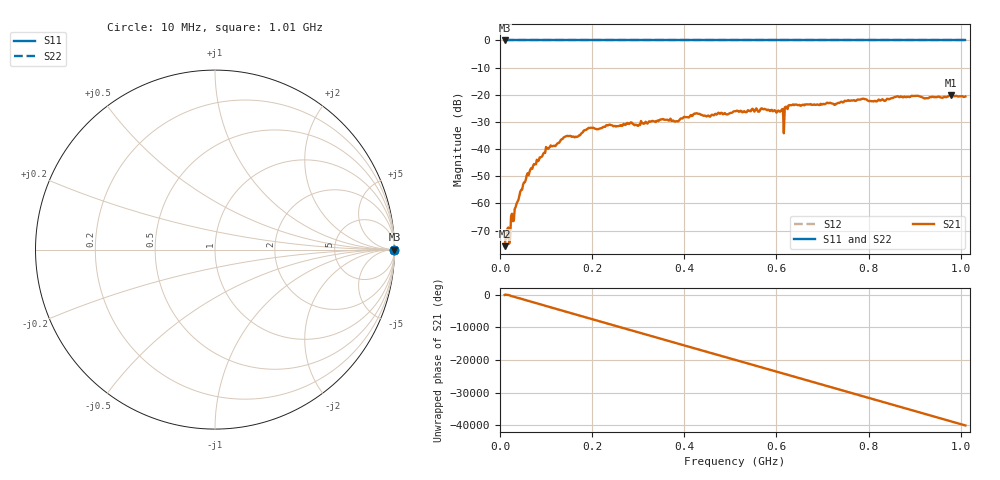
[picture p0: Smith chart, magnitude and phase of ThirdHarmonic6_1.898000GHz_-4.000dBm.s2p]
! 8/16/2025 10:54:30 PM
! C:\ANRITSUVNA\TEMP\TEMP.S2P
! CHANNEL.1
! TR.MEASUREMENT
! RAW.DATA
! RF.CORRECTION.OFF
! AVERAGING.OFF
! IF.BANDWIDTH: 5KHZ
! SWEEPTYPE:  FREQ.SWEEP(Linear)
! Reference Plane Port Info
! PORT:  PORT1  PORT2
! DISTANCE:  0  m  0  m
! TIME:  0  s  0  s
! PHASE.OFFSET:  0  deg.  0  deg.
! LOSS:  0  dB  0  dB
! REF.LOSS:  0  dB  0  dB
! REF.FREQ:  0  Hz  0  Hz
! Power Info
! POWER:  -20  dBm  -20  dBm
! EFF.POWER:  -20  dBm  -20  dBm
! SOURCE.ATTEN:  0  dB  0  dB
! TEST.ATTEN:  0  dB  0  dB
# GHZ S RI R 50.0
! FREQ.GHZ  S11RE  S11IM  S21RE  S21IM  S12RE  S12IM  S22RE  S22IM
!; PortSelection: Port_12
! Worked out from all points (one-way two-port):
!   501 points, 10 MHz to 1.01 GHz, reference 50 ohm
!   highest |S21| = -20.13 dB at 978 MHz (marker M1); lowest = -75.8 dB at 10 MHz (marker M2)
!   lowest |S11| = 0.0 dB at 10 MHz (marker M3)
!   |S11| at or under -10 dB: nowhere
!   |S22| runs from 0.0 to 0.0 dB; largest |S21 - S12| = 1.1
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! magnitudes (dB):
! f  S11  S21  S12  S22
! 10 MHz  0.0  -75.8  0.0  0.0
! 24 MHz  0.0  -64.8  0.0  0.0
! 28 MHz  0.0  -66.6  0.0  0.0
! 48 MHz  0.0  -55.0  0.0  0.0
! 70 MHz  0.0  -47.3  0.0  0.0
! 104 MHz  0.0  -39.9  0.0  0.0
! 142 MHz  0.0  -35.4  0.0  0.0
! 178 MHz  0.0  -34.0  0.0  0.0
! 196 MHz  0.0  -32.2  0.0  0.0
! 344 MHz  0.0  -29.7  0.0  0.0
! 384 MHz  0.0  -29.7  0.0  0.0
! 424 MHz  0.0  -26.9  0.0  0.0
! 452 MHz  0.0  -27.7  0.0  0.0
! 510 MHz  0.0  -26.1  0.0  0.0
! 570 MHz  0.0  -25.2  0.0  0.0
! 610 MHz  0.0  -25.9  0.0  0.0
! 612 MHz  0.0  -25.3  0.0  0.0
! 630 MHz  0.0  -23.8  0.0  0.0
! 678 MHz  0.0  -23.7  0.0  0.0
! 844 MHz  0.0  -21.7  0.0  0.0
! 978 MHz  0.0  -20.1  0.0  0.0
! 1.01 GHz  0.0  -20.6  0.0  0.0
